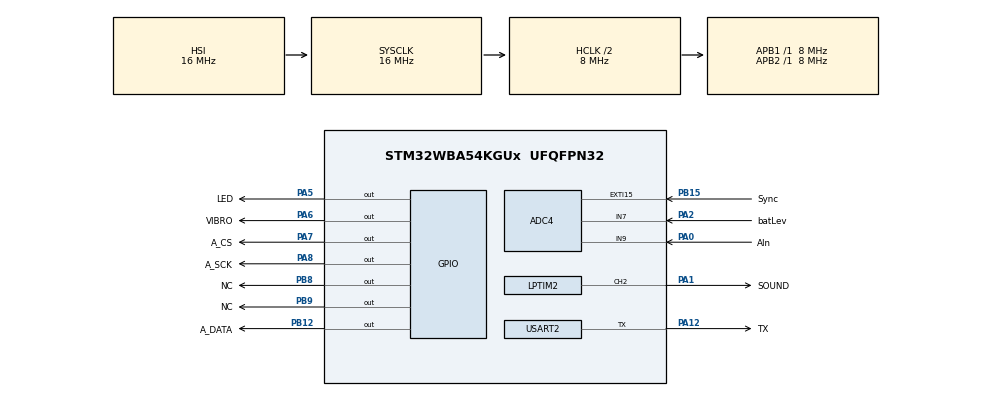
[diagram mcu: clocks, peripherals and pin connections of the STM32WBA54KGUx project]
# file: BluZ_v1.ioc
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ADC4.Channel-0\#ChannelRegularConversion=ADC_CHANNEL_9
ADC4.Channel-1\#ChannelRegularConversion=ADC_CHANNEL_7
ADC4.Channel-2\#ChannelRegularConversion=ADC_CHANNEL_TEMPSENSOR
ADC4.ContinuousConvMode=DISABLE
ADC4.DMAContinuousRequests=ENABLE
ADC4.NbrOfConversion=3
ADC4.NbrOfConversionFlag=1
ADC4.Overrun=ADC_OVR_DATA_OVERWRITTEN
ADC4.Rank-0\#ChannelRegularConversion=1
ADC4.Rank-1\#ChannelRegularConversion=2
ADC4.Rank-2\#ChannelRegularConversion=3
ADC4.SamplingTime-0\#ChannelRegularConversion=ADC_SAMPLINGTIME_COMMON_1
ADC4.SamplingTime-1\#ChannelRegularConversion=ADC_SAMPLINGTIME_COMMON_2
ADC4.SamplingTime-2\#ChannelRegularConversion=ADC_SAMPLINGTIME_COMMON_2
ADC4.SamplingTimeCommon1=ADC_SAMPLETIME_12CYCLES_5
ADC4.SamplingTimeCommon2=ADC_SAMPLETIME_814CYCLES_5
ADC4.SelectedChannel=ADC_CHANNEL_7|ADC_CHANNEL_9|ADC_CHANNEL_TEMPSENSOR
ADC4.TriggerFrequencyMode=ADC_TRIGGER_FREQ_HIGH
CORTEX_M33_NS.userName=CORTEX_M33
CRC.GeneratingPolynomial=X12+X11+X10+X8+X7+X5+X4+X2+X1+X0
GPDMA1.CIRCULARMODE_GPDMACH0=ENABLE
GPDMA1.DESTBURSTLENGTH_GPDMACH0=1
GPDMA1.DESTDATAWIDTH_GPDMACH0=DMA_DEST_DATAWIDTH_HALFWORD
GPDMA1.DESTINC_GPDMACH0=DMA_DINC_INCREMENTED
GPDMA1.IPHANDLE_GPDMACH0-SIMPLEREQUEST_GPDMACH0=__NULL
GPDMA1.REQUEST_GPDMACH0=GPDMA1_REQUEST_ADC4
GPDMA1.SRCDATAWIDTH_GPDMACH0=DMA_SRC_DATAWIDTH_HALFWORD
GPDMA1.TRIGGERPOLARITY_GPDMACH0=DMA_TRIG_POLARITY_MASKED
LPTIM1.Capture_Compare_Selection_1=UI_output
LPTIM1.ClockPrescaler=LPTIM_PRESCALER_DIV128
LPTIM1.OCPulse_1=4000
LPTIM1.Period=10000
LPTIM1.RepetitionCounter=0
LPTIM1.UpdateMode=LPTIM_UPDATE_IMMEDIATE
LPTIM2.OCPulse_2=1270
LPTIM2.Period=2540
LPTIM2.RepetitionCounter=0
LPTIM2.UpdateMode=LPTIM_UPDATE_IMMEDIATE
Mcu.Family=STM32WBA
Mcu.Name=STM32WBA54KGUx
Mcu.Package=UFQFPN32
NVIC.ADC4_IRQn=true\:0\:0\:false\:false\:true\:true\:true\:true
NVIC.EXTI15_IRQn=true\:0\:0\:false\:false\:true\:true\:true\:true
NVIC.GPDMA1_Channel0_IRQn=true\:0\:0\:false\:false\:true\:false\:true\:true
NVIC.LPTIM1_IRQn=true\:0\:0\:false\:false\:true\:true\:true\:true
NVIC.PriorityGroup=NVIC_PRIORITYGROUP_4
NVIC.RADIO_IRQn=true\:0\:0\:false\:false\:true\:false\:false\:true
NVIC.RTC_IRQn=true\:0\:0\:false\:false\:true\:true\:true\:true
NVIC.TIM17_IRQn=true\:0\:0\:false\:false\:true\:true\:true\:true
OSC_IN.Mode=HSE-External-Oscillator
OSC_IN.Signal=RCC_OSC_IN
OSC_OUT.Mode=HSE-External-Oscillator
OSC_OUT.Signal=RCC_OSC_OUT
PA0.GPIO_Label=AIn
PA0.Mode=IN9
PA0.Signal=ADC4_IN9
PA1.GPIO_Label=SOUND
PA1.Signal=S_LPTIM2_CH2
PA12.GPIO_Label=TX
PA12.GPIO_PuPd=GPIO_NOPULL
PA12.Mode=Half_duplex(single_wire_mode)
PA12.Signal=USART2_TX
PA2.GPIO_Label=batLev
PA2.Mode=IN7
PA2.Signal=ADC4_IN7
PA5.GPIO_Label=LED
PA5.Signal=GPIO_Output
PA6.GPIO_Label=VIBRO
PA6.Signal=GPIO_Output
PA7.GPIO_Label=A_CS
PA7.Signal=GPIO_Output
PA8.GPIO_Label=A_SCK
PA8.Signal=GPIO_Output
PB12.GPIO_Label=A_DATA
PB12.Signal=GPIO_Output
PB15.GPIO_Label=Sync
PB15.Signal=GPXTI15
PB8.GPIO_Label=NC
PB8.GPIO_ModeDefaultOutputPP=GPIO_MODE_OUTPUT_OD
PB8.GPIO_PuPd=GPIO_NOPULL
PB8.Signal=GPIO_Output
PB9.GPIO_Label=NC
PB9.GPIO_ModeDefaultOutputPP=GPIO_MODE_OUTPUT_OD
PB9.GPIO_PuPd=GPIO_NOPULL
PB9.Signal=GPIO_Output
PC14-OSC32_IN.Mode=LSE-External-Oscillator
PC14-OSC32_IN.Signal=RCC_OSC32_IN
PC15-OSC32_OUT.Mode=LSE-External-Oscillator
PC15-OSC32_OUT.Signal=RCC_OSC32_OUT
ProjectManager.HeapSize=0x200
ProjectManager.StackSize=0x400
ProjectManager.TargetToolchain=STM32CubeIDE
RAMCFG.Instance-RAMCFG1_Activate=RAMCFG_SRAM1
RCC.ADCCLockSelectionVirtual=RCC_ADCCLKSOURCE_HSI
RCC.ADCFreq_Value=16000000
RCC.AHBCLKDivider=RCC_SYSCLK_DIV2
RCC.AHBFreq_Value=8000000
RCC.APB1Freq_Value=8000000
RCC.APB1TimFreq_Value=8000000
RCC.APB2Freq_Value=8000000
RCC.APB2TimFreq_Value=8000000
RCC.CortexCLockSelectionVirtual=RCC_SYSTICKCLKSOURCE_LSE
RCC.CortexFreq_Value=32768
RCC.HCLKFreq_Value=8000000
RCC.HSE_VALUE=32000000
RCC.HSI_VALUE=16000000
RCC.HseDiv=RCC_HSE_DIV2
RCC.LPTIM1CLockSelectionVirtual=RCC_LPTIM1CLKSOURCE_HSI
RCC.LPTIM2CLockSelectionVirtual=RCC_LPTIM2CLKSOURCE_HSI
RCC.LSI1_VALUE=32000
RCC.LSI2_VALUE=32000
RCC.PLL1P=8
RCC.PLL1Q=8
RCC.PLL1R=8
RCC.PLLFRACN=0
RCC.PLLM=4
RCC.PLLN=32
RCC.RSTClockSelectionVirtual=RCC_RADIOSTCLKSOURCE_LSE
RCC.RTCClockSelection=RCC_RTCCLKSOURCE_LSE
RCC.SYSCLKFreq_VALUE=16000000
RCC.USART2CLockSelectionVirtual=RCC_USART2CLKSOURCE_HSI
RCC.VCOOutputFreq_Value=128000000
RCC.VDD_VALUE=2.8
RTC.BinMode=RTC_BINARY_ONLY
RTC.RTC_PRIVILEGE_FEATURE_WUT=__NULL
RTC.WakeUpClock=RTC_WAKEUPCLOCK_CK_SPRE_16BITS
RTC.WakeUpCounter=0
SH.S_LPTIM2_CH2.0=LPTIM2_CH2,OutputIO_CH2
STM32_WPAN.ADV_INTERVAL_MAX=3000
STM32_WPAN.ADV_INTERVAL_MAX_HEXA=0x12C0
STM32_WPAN.ADV_INTERVAL_MIN=2000
STM32_WPAN.ADV_INTERVAL_MIN_HEXA=0x0C80
STM32_WPAN.ADV_LP_INTERVAL_MIN=3000
STM32_WPAN.ADV_LP_INTERVAL_MIN_HEXA=0x12C0
STM32_WPAN.AD_TYPE_COMPLETE_LOCAL_NAME=BluZ
STM32_WPAN.AD_TYPE_COMPLETE_LOCAL_NAME_LENGTH=5
STM32_WPAN.BLE_OPTIONS_POWER_CLASS_1=BLE_OPTIONS_POWER_CLASS_1
STM32_WPAN.BLE_OPTIONS_REDUCED_DB_IN_NVM=BLE_OPTIONS_REDUCED_DB_IN_NVM
STM32_WPAN.BLE_STACK_TYPE=BLE_STACK_TYPE_BASIC
STM32_WPAN.CFG_AMM_VIRTUAL_BUFFER_SIZE_1=400
STM32_WPAN.CFG_AMM_VIRTUAL_BUFFER_SIZE_2=400
STM32_WPAN.CFG_BD_ADDRESS=0x0008E12A1234
STM32_WPAN.CFG_DEBUGGER_LEVEL=0
STM32_WPAN.CFG_GAP_DEVICE_NAME=BluZ
STM32_WPAN.CFG_GAP_DEVICE_NAME_LENGTH=4
STM32_WPAN.CFG_IO_CAPABILITY=\ IO_CAP_NO_INPUT_NO_OUTPUT
STM32_WPAN.CFG_LPM_LEVEL=0
STM32_WPAN.CFG_LPM_STDBY_SUPPORTED=0
STM32_WPAN.CFG_MITM_PROTECTION=MITM_PROTECTION_NOT_REQUIRED
STM32_WPAN.CFG_MM_POOL_SIZE=4000
STM32_WPAN.CFG_RF_TX_POWER_TABLE_ID=1
STM32_WPAN.CFG_RT_DEBUG_GPIO_MODULE=0
STM32_WPAN.CFG_SC_SUPPORT=SC_PAIRING_UNSUPPORTED
STM32_WPAN.CFG_TX_POWER=(0x17) /* 0x17 <\=> -2.4 dBm */
STM32_WPAN.CFG_USED_FIXED_PIN=1
STM32_WPAN.INCLUDE_AD_TYPE_COMPLETE_LOCAL_NAME=1
STM32_WPAN.INCLUDE_AD_TYPE_MANUFACTURER_SPECIFIC_DATA=1
STM32_WPAN.INCLUDE_AD_TYPE_TX_POWER_LEVEL=0
STM32_WPAN.NUMBER_OF_SERVICES=1
STM32_WPAN.RADIO_INTR_PRIO_LOW=5
STM32_WPAN.SERVICE1_CHAR1_GATT_NOTIFY_ATTRIBUTE_WRITE=GATT_NOTIFY_ATTRIBUTE_WRITE
STM32_WPAN.SERVICE1_CHAR1_GATT_NOTIFY_READ_REQ_AND_WAIT_FOR_APPL_RESP=\ 
STM32_WPAN.SERVICE1_CHAR1_GATT_NOTIFY_WRITE_REQ_AND_WAIT_FOR_APPL_RESP=\ 
STM32_WPAN.SERVICE1_CHAR1_LONG_NAME=BluZ_RX
STM32_WPAN.SERVICE1_CHAR1_PROP_NOTIFY=CHAR_PROP_NOTIFY
STM32_WPAN.SERVICE1_CHAR1_PROP_READ=\ 
STM32_WPAN.SERVICE1_CHAR1_PROP_WRITE_WITHOUT_RESP=\ 
STM32_WPAN.SERVICE1_CHAR1_SHORT_NAME=RX
STM32_WPAN.SERVICE1_CHAR1_UUID=FE 81
STM32_WPAN.SERVICE1_CHAR1_VALUE_LENGTH=255
STM32_WPAN.SERVICE1_CHAR2_GATT_NOTIFY_READ_REQ_AND_WAIT_FOR_APPL_RESP=\ 
STM32_WPAN.SERVICE1_CHAR2_GATT_NOTIFY_WRITE_REQ_AND_WAIT_FOR_APPL_RESP=\ 
STM32_WPAN.SERVICE1_CHAR2_LONG_NAME=BluZ_TX
STM32_WPAN.SERVICE1_CHAR2_PROP_NOTIFY=CHAR_PROP_NOTIFY
STM32_WPAN.SERVICE1_CHAR2_PROP_WRITE=\ 
STM32_WPAN.SERVICE1_CHAR2_PROP_WRITE_WITHOUT_RESP=CHAR_PROP_WRITE_WITHOUT_RESP
STM32_WPAN.SERVICE1_CHAR2_SHORT_NAME=TX
STM32_WPAN.SERVICE1_CHAR2_UUID=FE 82
STM32_WPAN.SERVICE1_CHAR2_VALUE_LENGTH=255
STM32_WPAN.SERVICE1_LONG_NAME=BluZ
STM32_WPAN.SERVICE1_NUMBER_OF_CHARACTERISTICS=2
STM32_WPAN.SERVICE1_SHORT_NAME=BluZ
STM32_WPAN.SERVICE1_UUID=FE 80
STM32_WPAN.SNVMA_NVM_ID_1_BANK_NUMBER=2
STM32_WPAN.SNVMA_NVM_ID_2_BANK_NUMBER=2
STM32_WPAN.SNVMA_NVM_ID_2_BANK_SIZE=128
STM32_WPAN.SNVMA_NVM_NUMBER=1
STM32_WPAN.USE_TEMPERATURE_BASED_RADIO_CALIBRATION=0
TIM17.AutoReloadPreload=TIM_AUTORELOAD_PRELOAD_ENABLE
TIM17.Channel=TIM_CHANNEL_1
TIM17.OCMode_1=TIM_OCMODE_TOGGLE
TIM17.PeriodNoDither=1000
TIM17.Prescaler=15
USART2.BaudRate=115200
USART2.DMADisableonRxErrorParam=ADVFEATURE_DMA_DISABLEONRXERROR
USART2.DataInvertParam=ADVFEATURE_DATAINV_DISABLE
USART2.FIFOMode=FIFOMODE_ENABLE
USART2.Mode=MODE_TX
USART2.OverSampling=UART_OVERSAMPLING_8
USART2.OverrunDisableParam=ADVFEATURE_OVERRUN_DISABLE
USART2.VirtualMode-Half_duplex(single_wire_mode)=VM_ASYNC
VP_ADC4_TempSens_Input.Mode=IN-TempSens
VP_ADV_TRACE_VS_ADV_TRACE.Mode=ADV_TRACE_Enabled
VP_CORTEX_M33_NS_VS_Ext.Mode=External_Mode
VP_CRC_VS_CRC.Mode=CRC_Activate
VP_GPDMA1_VS_GPDMACH0.Mode=SIMPLEREQUEST_GPDMACH0
VP_ICACHE_VS_ICACHE.Mode=DirectMappedCache
VP_LPTIM1_VS_CH1.Mode=Channel_1_Active
VP_LPTIM1_VS_LPTIM_counterModeInternalClock.Mode=Counts__internal_clock_event_00
VP_LPTIM1_VS_noIO1.Mode=NoIO_Channel_1_Active
VP_LPTIM2_VS_CH2.Mode=Channel_2_Active
VP_LPTIM2_VS_LPTIM_counterModeInternalClock.Mode=Counts__internal_clock_event_00
VP_MEMORYMAP_VS_MEMORYMAP.Mode=CurAppReg
VP_MISC_VS_MISC.Mode=MISC_Enabled
VP_PWR_VS_SECSignals.Mode=Security/Privilege
VP_RAMCFG_VS_RAMCFG1.Mode=RAMCFG1_Activate
VP_RF_VS_RF.Mode=RF_Activate
VP_RNG_VS_RNG.Mode=RNG_Activate
VP_RTC_VS_RTC_Activate.Mode=RTC_Enabled
VP_RTC_VS_RTC_WakeUp_intern.Mode=WakeUp
VP_SEQUENCER_VS_SEQUENCER.Mode=SEQUENCER_Enabled
VP_STM32_WPAN_VS_BLE_HOST_SP.Mode=BLE_Server
VP_TIM17_VS_ClockSourceINT.Mode=Enable_Timer
VP_TIM17_VS_OPM.Mode=OPM_bit
VP_TIM17_VS_no_output1.Mode=Output Compare1 No Output
VP_TIMER_VS_TIMER.Mode=TIMER_Enabled
VP_TINY_LPM_VS_TINY_LPM.Mode=TINY_LPM_Enabled
board=custom

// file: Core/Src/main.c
/* USER CODE BEGIN Header */
/**
  ******************************************************************************
  * @file           : main.c
  * @brief          : Main program body
  ******************************************************************************
  * @attention
  *
  * Copyright (c) 2024 STMicroelectronics.
  * All rights reserved.
  *
  * This software is licensed under terms that can be found in the LICENSE file
  * in the root directory of this software component.
  * If no LICENSE file comes with this software, it is provided AS-IS.
  *
  ******************************************************************************
  */
/* USER CODE END Header */
#include "main.h"

/* USER CODE BEGIN Includes */
#include "LTC1662.h"
/* USER CODE END Includes */

ADC_HandleTypeDef hadc4;
DMA_NodeTypeDef Node_GPDMA1_Channel0;
DMA_QListTypeDef List_GPDMA1_Channel0;
DMA_HandleTypeDef handle_GPDMA1_Channel0;

CRC_HandleTypeDef hcrc;

LPTIM_HandleTypeDef hlptim1;
LPTIM_HandleTypeDef hlptim2;

RAMCFG_HandleTypeDef hramcfg_SRAM1;

RNG_HandleTypeDef hrng;

RTC_HandleTypeDef hrtc;

TIM_HandleTypeDef htim17;

UART_HandleTypeDef huart2;

/* USER CODE BEGIN PV */

bool connectFlag = false, LEDflag = false, SoundFlag = false, VibroFlag = false, autoStartSpecrometr = false;
uint32_t tmp_level, currentTimeAvg, pulseCounterAvg, interval1 = 0, interval2 = 0, interval3 = 0, interval4 = 0, intervalNow = 0, pulseCounter = 0,  pulseCounterSecond = 0, pulseLevel[3] = {0}, currentTime = 0, CPS = 0;
char uartBuffer[400] = {0,};
/* Буфер для работы с flash */
uint64_t PL[8] = {0,};
uint8_t resolution = 0; /* 0 - 1024, 1 - 2048, 2 - 4096 */
uint8_t dataType = 0;	/* 0 - Спектр, 1 - История, 2 - Логи, 3 - Параметры, 4 - История дозиметра*/
uint8_t tmpBTBuffer[DATA_NOTIFICATION_MAX_PACKET_SIZE] = {0,};
uint16_t currTemterature, currVoltage, tmpSpecterBuffer[4096];
uint16_t dozimetrBuffer[SIZE_DOZIMETR_BUFER] = {0,};
int indexDozimetrBufer = 0;

/* Настройки прибора */
uint16_t specterBuffer[SIZE_BUF_4096] = {0,};
bool SoundEnable = true, VibroEnable = true, LEDEnable = false;		// Собровождение квантов
bool levelSound1 = true, levelSound2 = true, levelSound3 = true;	// Активность звука для разных уровней
bool levelVibro1 = true, levelVibro2 = true, levelVibro3 = true;	// Активность вибро для разнвх уровней
bool flagTemperatureMess = false, startSpecrometr = false;

/*
union dataC {
	float Float;
	uint8_t Uint[4];
};
*/

/* Коэффициенты для коррекции температуры */
float TK1, TK2;

int level1, level2, level3;											// Значения порогов
uint32_t level1_cps, level2_cps, level3_cps;						// Значения порогов в CPS
union dataC calcCoeff;												// Коэффициент для пересчета CPS в uR/h
union dataC enCoefA, enCoefB, enCoefC;								// Коэффициенты полинома для преобразования канала в энергию
union dataA Temperature, Voltage;									// Температура и напряжение батареи
union dataA AvgCPS;													// Средний CPS за время с последнего старта.

uint16_t HVoltage = 256, comparatorLevel = 256;						// Уровни настройки высокого напряжения и компаратора

uint8_t notifyFlags = 0;											// 1 - Звук, 2 - Вибро, 4 - Led

/* USER CODE END PV */

void SystemClock_Config(void);
void PeriphCommonClock_Config(void);
static void MX_GPIO_Init(void);
static void MX_GPDMA1_Init(void);
static void MX_ADC4_Init(void);
static void MX_USART2_UART_Init(void);
static void MX_CRC_Init(void);
static void MX_RAMCFG_Init(void);
static void MX_RNG_Init(void);
static void MX_ICACHE_Init(void);
static void MX_LPTIM2_Init(void);
static void MX_LPTIM1_Init(void);
static void MX_TIM17_Init(void);

/* USER CODE BEGIN 0 */

/*
 * Управление оповещениями
 *
 * SRC 		- SOUND_NOTIFY | VIBRO_NOTIFY | LED_NOTIFY
 * repCnt	- Количество повторов для звука и вибро
 *
 */
void NotifyAct(uint8_t SRC, uint32_t repCnt) {
	if (SoundEnable || VibroEnable || TEST_LED) {
		if (SRC & (SOUND_NOTIFY | VIBRO_NOTIFY)) {
		/* Установим количество повторов */
			hlptim1.Init.RepetitionCounter = repCnt;
			if (HAL_LPTIM_Init(&hlptim1) == HAL_OK) {
				notifyFlags = SRC;
				/* Включаем звук и вибро */
				HAL_LPTIM_OnePulse_Start_IT(&hlptim1, LPTIM_CHANNEL_1);
			}
		}
	}
	if (LEDEnable || TEST_LED) {
		if (SRC & LED_NOTIFY) {
			LEDflag = true;
			HAL_GPIO_WritePin(LED_GPIO_Port, LED_Pin, GPIO_PIN_SET);
			HAL_TIM_Base_Start_IT(&htim17);
		}
	}
}

void calcPulseLevel() {
	level1_cps = level1 / calcCoeff.Float;
	level2_cps = level2 / calcCoeff.Float;
	level3_cps = level3 / calcCoeff.Float;
}
/* USER CODE END 0 */

int main(void)
{

  /* USER CODE BEGIN 1 */
	/* Настройка температурных коэффициентов */
	TK1 = (float) (TEMPSENSOR_CAL2_TEMP - TEMPSENSOR_CAL1_TEMP) / (float)(*TEMPSENSOR_CAL2_ADDR - *TEMPSENSOR_CAL1_ADDR);
	TK2 = (float) TEMPSENSOR_CAL1_TEMP - TK1 * (float) ( *(__IO uint16_t*) TEMPSENSOR_CAL1_ADDR);
	TK1 = TK1 * ADC_VREF / ((float)VREFINT_CAL_VREF / 1000.0f);

  /* USER CODE END 1 */

  /* MCU Configuration--------------------------------------------------------*/

  /* Reset of all peripherals, Initializes the Flash interface and the Systick. */
  HAL_Init();
  /* Config code for STM32_WPAN (HSE Tuning must be done before system clock configuration) */
  MX_APPE_Config();

  /* Configure the system clock */
  SystemClock_Config();

/* Configure the peripherals common clocks */
  PeriphCommonClock_Config();

  /* Initialize all configured peripherals */
  MX_GPIO_Init();
  MX_GPDMA1_Init();
  MX_ADC4_Init();
  MX_USART2_UART_Init();
  MX_CRC_Init();
  MX_RAMCFG_Init();
  MX_RNG_Init();
  MX_RTC_Init();
  MX_ICACHE_Init();
  MX_LPTIM2_Init();
  MX_LPTIM1_Init();
  MX_TIM17_Init();
  /* USER CODE BEGIN 2 */
  //MX_GPIO_Init();
  HAL_ADCEx_Calibration_Start(&hadc4);

#ifndef DEBUG_USER
  HAL_UART_DeInit(&huart2);
#endif

#ifdef DEBUG_USER
  bzero((char *) uartBuffer, sizeof(uartBuffer));
  sprintf(uartBuffer, "\n\rStart.\n\r");
  HAL_UART_Transmit(&huart2, (uint8_t *) uartBuffer, strlen(uartBuffer), 100);
#endif

  /* USER CODE END 2 */

  /* Init code for STM32_WPAN */
  MX_APPE_Init(NULL);

  /* Infinite loop */
  /* USER CODE BEGIN WHILE */
  //__//HAL_TIM_CLEAR_FLAG(&htim1, TIM_SR_UIF); // Clear flags

  //resolution = 0;			/* Тест разрешение 1024 */
  //resolution = 1;			/* Тест разрешение 2048 */
  //resolution = 2;			/* Тест разрешение 4096 */

  //HAL_RTCEx_SetWakeUpTimer_IT(&hrtc, 2000, 1000, RTC_WAKEUPCLOCK_RTCCLK_DIV16);

  if (readFlash() == HAL_OK) {
	#ifdef DEBUG_USER
	  bzero((char *) uartBuffer, sizeof(uartBuffer));
	  sprintf(uartBuffer, "\n\rRead flash Ok. Address: %lx\n\r", MAGIC_KEY_ADDRESS);
	  HAL_UART_Transmit(&huart2, (uint8_t *) uartBuffer, strlen(uartBuffer), 100);
	#endif
  }
  /* Пересчет уровней в uint32_t для ускорения обработки */
  calcPulseLevel();
  /*
   * Настройка порога компаратора
   */
  setLevelOnPort(CHANNEL_A, comparatorLevel);

  /*
   * Настройка высокого напряжения
   * Чем выше значение тем ниже напряжение.
   */
  setLevelOnPort(CHANNEL_B, HVoltage);

  /* Запуск набора спектра при активном автостарте */
  if (autoStartSpecrometr) {
	  HAL_ADC_Start_DMA(&hadc4, pulseLevel, 3);
	  //__HAL_DMA_DISABLE_IT(hadc4.DMA_Handle, DMA_IT_HT);
	  hadc4.DMA_Handle->Instance->CCR &= ~DMA_IT_HT;
	  /* Включим ADC для одного канала */
	  MODIFY_REG(hadc4.Instance->CHSELR, ADC_CHSELR_SQ_ALL, ((ADC_CHSELR_SQ2 | ADC_CHSELR_SQ3 | ADC_CHSELR_SQ4 | ADC_CHSELR_SQ5 | ADC_CHSELR_SQ6 | ADC_CHSELR_SQ7 | ADC_CHSELR_SQ8) << (((1UL - 1UL) * ADC_REGULAR_RANK_2) & 0x1FUL)) | (hadc4.ADCGroupRegularSequencerRanks));
	  //hadc4.DMA_Handle &= ~DMA_IT_HT;
  }
  pulseCounter = 0;
  pulseCounterSecond = 0;
  currentTime = 0;

  /*
   * Значения заголовка и формат данных для передачи
   * 0,1,2 - Маркер начала <B>
   * 3 -  количество MTU
   *    1    - Параметры прибора
   *    3    - Даные лога
   *    4    - Данные дозиметра
   *    9    - Спектр 1024 разрядов
   *    17   - Спектр 2048 разрядов
   *    34   - Спектр 4096 разрядов
   *
   * 4 - Тип передаваемых данных
   *    0   - Текущий спектр
   *    1   - Исторический спектр
   *
   * 5, 6   - Общее число импульсов от начала измерения uint32_t
   * 7, 8   - Число импульсов за последнюю секунду. uint32_t
   * 9, 10  - Общее время в секундах uint32_t
   * 11, 12 - Среднее количество имльсов в секунду. float
   * 13, 14 - Температура в гр. цельсия
   * 15, 16 - Напряжение батареи в вольтах
   *
   */
  /* Включим Vibro, Sound */

  NotifyAct(SOUND_NOTIFY /*| VIBRO_NOTIFY*/, 1);

  while (1)
  {
    /* USER CODE END WHILE */
    MX_APPE_Process();

    /* USER CODE BEGIN 3 */
    /*
     * 	Засыпаем если нет подключения и нет набора спектра.
     */
    if (! connectFlag && ! startSpecrometr) {
		HAL_SuspendTick();
		HAL_PWR_EnterSLEEPMode(PWR_LOWPOWERREGULATOR_ON, PWR_SLEEPENTRY_WFI);
		//PWR_EnterSleepMode();
		HAL_ResumeTick();
		//LL_PWR_SetPowerMode(Mode);
    }

	if (interval3 + INTERVAL3 < intervalNow) {
		interval3 = intervalNow;
		//NotifyAct(SOUND_NOTIFY, 2);
		//HAL_GPIO_TogglePin(LED_GPIO_Port, LED_Pin);
	}

    if ( connectFlag && (interval2 < intervalNow) /*&& system_startup_done*/) {
	  interval2 = intervalNow + INTERVAL2;

	  /* Шаблон заголовка */
	  uint8_t hdr[] = {'<', 'B', '>', 0, 0, 0, 0, 0};

	  uint16_t countMTU = 0;
	  uint16_t idxCS = 0 ;
	  int kkk = 0;
	  switch (dataType) {
  	  case 0:									/* Передача данных спектрометра */
  	  case 1:									/* Передача данных истории спектрометра */
		  switch (resolution) {
		  case 0:								/* Передача спектра с разрешением 1024 */
				countMTU = NUMBER_MTU_1024;
				idxCS = SIZE_BUF_1024 - 1 ;
				hdr[4] = 0;					/* Тип передаваемых данных */
				break;
		  case 1: 								/* Передача спектра с разрешением 2048 */
				countMTU = NUMBER_MTU_2048;
				idxCS = SIZE_BUF_2048 - 1;
				hdr[4] = 0;
				break;
		  case 2: 								/* Передача спектра с разрешением 4096 */
				countMTU = NUMBER_MTU_4096;
				idxCS = SIZE_BUF_4096 - 1;
				hdr[4] = 0;
				break;
		  }
		  /*
		   * Загрузка спектра в буфер,
		   * что бы исключить изменение данных на время передачи
		   *
		   */
		  for (int jjj = HEADER_OFFSET; jjj < idxCS; jjj++) {
			  specterBuffer[jjj] = tmpSpecterBuffer[kkk++];
			  /* Тестовые данные */
			  //specterBuffer[jjj] = 0;
			  //specterBuffer[jjj] = log(jjj) * 400;
		  }
		  break;
	  case 2:								/* Передача лога */
		  countMTU = NUMBER_MTU_LOG;
		  idxCS = SIZE_BUF_LOG - 1;
		  hdr[4] = 0;
		  break;
	  case 3:								/* Передача параметров */
		  countMTU = NUMBER_MTU_PARAM;
		  idxCS = SIZE_BUF_PARAM - 1;
		  hdr[4] = 0;
		  break;
	  case 4:								/* Передача статистики дозиметра */
		  countMTU = NUMBER_MTU_DOZR;
		  idxCS = SIZE_BUF_DOZR - 1;
		  hdr[4] = 0;
  		  for (int jjj = HEADER_OFFSET; jjj < HEADER_OFFSET + SIZE_DOZIMETR_BUFER; jjj++) {
  			  specterBuffer[jjj] = dozimetrBuffer[kkk++];
  		  }
		  break;
	  }

	  /* Подготовка заголовка */
	  hdr[3] = countMTU;		/* Количество передач */
	  specterBuffer[0] = (uint16_t) (hdr[0] | (((uint16_t) hdr[1] << 8) & 0xFF00));
	  specterBuffer[1] = (uint16_t) (hdr[2] | (((uint16_t) hdr[3] << 8) & 0xFF00));
	  specterBuffer[2] = (uint16_t) (hdr[4] | (((uint16_t) hdr[5] << 8) & 0xFF00));
	  specterBuffer[3] = (uint16_t) (hdr[6] | (((uint16_t) hdr[7] << 8) & 0xFF00));

	  /* Общее количество импульсов */
	  specterBuffer[5] = pulseCounterAvg & 0xFFFF;
	  specterBuffer[6] = ((uint32_t) pulseCounterAvg >> 16 ) & 0xFFFF;

	  /* Импульсы за последнюю секунду */
	  specterBuffer[7] = CPS & 0xFFFF;
	  specterBuffer[8] = (CPS >> 16) & 0xFFFF;

	  /* Общее время в секундах от последнего старта */
	  specterBuffer[9] =  currentTimeAvg & 0xFFFF;
	  specterBuffer[10] = (currentTimeAvg >> 16) & 0xFFFF;

	  /* Среднее количество импульсов от последнего старта */
	  AvgCPS.Float = (float) pulseCounterAvg / (float) currentTimeAvg;
	  specterBuffer[11] = AvgCPS.Uint[0];
	  specterBuffer[12] = AvgCPS.Uint[1];

	 /*
	  *	Расчет температуры
	  *	 TS_CAL1 (30 °C VREF+ = 3.0 V)  0x0BF9 0710 - 0x0BF9 0711
	  *	 TS_CAL2 (130 °C VREF+ = 3.0 V) 0x0BF9 0742 - 0x0BF9 0743
	  *
	  *	 T(°C) = (TS_CAL2_TEMP – TS_CAL1_TEMP) / (TS_CAL2 – TS_CAL1) * ( TS_DATA – TS_CAL1 ) + TS_CAL1_TEMP
	  *
	  *	 T(°C) = (130 - 30) / (*(__IO uint32_t*) 0x0BF9 0742 - *(__IO uint32_t*) 0x0BF9 0710) * (TS_DATA - *(__IO uint32_t*) 0x0BF9 0710) + 30
	  */
	  Temperature.Float = TK1 * (float) currTemterature + TK2;
	  Temperature.Float = (float) TK1 * 1000000.0;
	  Voltage.Float = currVoltage * ADC_VREF_COEF;
	  specterBuffer[13] = Temperature.Uint[0];
	  specterBuffer[14] = Temperature.Uint[1];

	  /* Напряжение батареи */
	  specterBuffer[15] = Voltage.Uint[0];
	  specterBuffer[16] = Voltage.Uint[1];

	  uint16_t tmpCS = 0;			/* Очистим контрольнуюю сумму */
	  specterBuffer[idxCS] = 0;
	  kkk = 0;
	  for (int iii = 0; iii < countMTU; iii++) {
		  if ( ! connectFlag) {
			  break;
		  }
		  for (int jjj = 0; jjj < MTUSizeValue; jjj++) {
			  uint16_t dataSpectr = specterBuffer[kkk++];
			  uint8_t tmpByte;
			  tmpByte  = (uint8_t) (dataSpectr & 0xFF);
			  tmpBTBuffer[jjj++] = tmpByte;
			  tmpCS = tmpCS + tmpByte;
			  tmpByte = (uint8_t) ((dataSpectr >> 8) & 0xFF);
			  tmpBTBuffer[jjj] = tmpByte;
			  tmpCS = tmpCS + tmpByte;
		  }
		  if (kkk >= idxCS) {
			  tmpBTBuffer[242] = (uint8_t) (tmpCS & 0xFF);
			  tmpBTBuffer[243] = (uint8_t) ((tmpCS >> 8) & 0xFF);
		  }
		  sendData(tmpBTBuffer);
		  MX_APPE_Process();
		  /*
		   * TODO -- требуется задержка в передаче, иначе не все пакеты принимаются
		   */
		  HAL_Delay(40);
			//bzero((char *) uartBuffer, sizeof(uartBuffer));
			//sprintf(uartBuffer, "MTU: %d\n\r", iii);
			//HAL_UART_Transmit(&huart2, (uint8_t *) uartBuffer, strlen(uartBuffer), 100);
	  }
		#ifdef DEBUG_USER
		bzero((char *) uartBuffer, sizeof(uartBuffer));
		sprintf(uartBuffer, "CS: %d, MTU: %d\n\r", tmpCS, MTUSizeValue);
		HAL_UART_Transmit(&huart2, (uint8_t *) uartBuffer, strlen(uartBuffer), 100);
		#endif
	}
    if (interval1 < intervalNow) {
    	interval1 = intervalNow + INTERVAL1;
    	//HAL_GPIO_TogglePin(LED_GPIO_Port, LED_Pin);
    	//NotifyAct(SOUND_NOTIFY, 2);
		if (connectFlag) {
			//NotifyAct(LED_NOTIFY);

		}
    }

    /* Измерение напряжения батареи и температуры МК */
    if (interval4 < intervalNow) {
    	interval4 = intervalNow + INTERVAL4;
    	if (! flagTemperatureMess) {
    		/* Включим ADC для трех каналов */
    		MODIFY_REG(hadc4.Instance->CHSELR, ADC_CHSELR_SQ_ALL, ((ADC_CHSELR_SQ2 | ADC_CHSELR_SQ3 | ADC_CHSELR_SQ4 | ADC_CHSELR_SQ5 | ADC_CHSELR_SQ6 | ADC_CHSELR_SQ7 | ADC_CHSELR_SQ8) << (((3UL - 1UL) * ADC_REGULAR_RANK_2) & 0x1FUL)) | (hadc4.ADCGroupRegularSequencerRanks));
			flagTemperatureMess = true;						// Для единичного измерения
    	}
    }
  }
  /* USER CODE END 3 */
}

void SystemClock_Config(void)
{
  RCC_OscInitTypeDef RCC_OscInitStruct = {0};
  RCC_ClkInitTypeDef RCC_ClkInitStruct = {0};

  /** Configure the main internal regulator output voltage
  */
  if (HAL_PWREx_ControlVoltageScaling(PWR_REGULATOR_VOLTAGE_SCALE2) != HAL_OK)
  {
    Error_Handler();
  }

  /** Configure LSE Drive Capability
  */
  HAL_PWR_EnableBkUpAccess();
  __HAL_RCC_LSEDRIVE_CONFIG(RCC_LSEDRIVE_MEDIUMLOW);

  /** Initializes the CPU, AHB and APB busses clocks
  */
  RCC_OscInitStruct.OscillatorType = RCC_OSCILLATORTYPE_HSI|RCC_OSCILLATORTYPE_HSE
                              |RCC_OSCILLATORTYPE_LSE;
  RCC_OscInitStruct.HSEState = RCC_HSE_ON;
  RCC_OscInitStruct.HSEDiv = RCC_HSE_DIV2;
  RCC_OscInitStruct.LSEState = RCC_LSE_ON;
  RCC_OscInitStruct.HSIState = RCC_HSI_ON;
  RCC_OscInitStruct.HSICalibrationValue = RCC_HSICALIBRATION_DEFAULT;
  RCC_OscInitStruct.PLL1.PLLState = RCC_PLL_NONE;
  if (HAL_RCC_OscConfig(&RCC_OscInitStruct) != HAL_OK)
  {
    Error_Handler();
  }

  /** Initializes the CPU, AHB and APB busses clocks
  */
  RCC_ClkInitStruct.ClockType = RCC_CLOCKTYPE_HCLK|RCC_CLOCKTYPE_SYSCLK
                              |RCC_CLOCKTYPE_PCLK1|RCC_CLOCKTYPE_PCLK2
                              |RCC_CLOCKTYPE_PCLK7|RCC_CLOCKTYPE_HCLK5;
  RCC_ClkInitStruct.SYSCLKSource = RCC_SYSCLKSOURCE_HSI;
  RCC_ClkInitStruct.AHBCLKDivider = RCC_SYSCLK_DIV2;
  RCC_ClkInitStruct.APB1CLKDivider = RCC_HCLK_DIV1;
  RCC_ClkInitStruct.APB2CLKDivider = RCC_HCLK_DIV1;
  RCC_ClkInitStruct.APB7CLKDivider = RCC_HCLK_DIV1;
  RCC_ClkInitStruct.AHB5_PLL1_CLKDivider = RCC_SYSCLK_PLL1_DIV1;
  RCC_ClkInitStruct.AHB5_HSEHSI_CLKDivider = RCC_SYSCLK_HSEHSI_DIV1;

  if (HAL_RCC_ClockConfig(&RCC_ClkInitStruct, FLASH_LATENCY_0) != HAL_OK)
  {
    Error_Handler();
  }

   /* Select SysTick source clock */
  HAL_SYSTICK_CLKSourceConfig(SYSTICK_CLKSOURCE_LSE);

   /* Re-Initialize Tick with new clock source */
  if (HAL_InitTick(TICK_INT_PRIORITY) != HAL_OK)
  {
    Error_Handler();
  }
}

void PeriphCommonClock_Config(void)
{
  RCC_PeriphCLKInitTypeDef PeriphClkInit = {0};

  /** Initializes the peripherals clock
  */
  PeriphClkInit.PeriphClockSelection = RCC_PERIPHCLK_RADIOST;
  PeriphClkInit.RadioSlpTimClockSelection = RCC_RADIOSTCLKSOURCE_LSE;

  if (HAL_RCCEx_PeriphCLKConfig(&PeriphClkInit) != HAL_OK)
  {
    Error_Handler();
  }
}

static void MX_ADC4_Init(void)
{

  ADC_ChannelConfTypeDef sConfig = {0};

  /** Common config
  */
  hadc4.Instance = ADC4;
  hadc4.Init.ClockPrescaler = ADC_CLOCK_ASYNC_DIV1;
  hadc4.Init.Resolution = ADC_RESOLUTION_12B;
  hadc4.Init.DataAlign = ADC_DATAALIGN_RIGHT;
  hadc4.Init.ScanConvMode = ADC_SCAN_ENABLE;
  hadc4.Init.EOCSelection = ADC_EOC_SINGLE_CONV;
  hadc4.Init.LowPowerAutoPowerOff = DISABLE;
  hadc4.Init.LowPowerAutonomousDPD = ADC_LP_AUTONOMOUS_DPD_DISABLE;
  hadc4.Init.LowPowerAutoWait = DISABLE;
  hadc4.Init.ContinuousConvMode = DISABLE;
  hadc4.Init.NbrOfConversion = 3;
  hadc4.Init.DiscontinuousConvMode = ENABLE;
  hadc4.Init.ExternalTrigConv = ADC_EXTERNALTRIG_EXT_IT15;
  hadc4.Init.ExternalTrigConvEdge = ADC_EXTERNALTRIGCONVEDGE_RISING;
  hadc4.Init.DMAContinuousRequests = ENABLE;
  hadc4.Init.TriggerFrequencyMode = ADC_TRIGGER_FREQ_HIGH;
  hadc4.Init.Overrun = ADC_OVR_DATA_OVERWRITTEN;
  hadc4.Init.SamplingTimeCommon1 = ADC_SAMPLETIME_12CYCLES_5;
  hadc4.Init.SamplingTimeCommon2 = ADC_SAMPLETIME_814CYCLES_5;
  hadc4.Init.OversamplingMode = DISABLE;
  if (HAL_ADC_Init(&hadc4) != HAL_OK)
  {
    Error_Handler();
  }

  /** Configure Regular Channel
  */
  sConfig.Channel = ADC_CHANNEL_9;
  sConfig.Rank = ADC_REGULAR_RANK_1;
  sConfig.SamplingTime = ADC_SAMPLINGTIME_COMMON_1;
  if (HAL_ADC_ConfigChannel(&hadc4, &sConfig) != HAL_OK)
  {
    Error_Handler();
  }

  /** Configure Regular Channel
  */
  sConfig.Channel = ADC_CHANNEL_7;
  sConfig.Rank = ADC_REGULAR_RANK_2;
  sConfig.SamplingTime = ADC_SAMPLINGTIME_COMMON_2;
  if (HAL_ADC_ConfigChannel(&hadc4, &sConfig) != HAL_OK)
  {
    Error_Handler();
  }

  /** Configure Regular Channel
  */
  sConfig.Channel = ADC_CHANNEL_TEMPSENSOR;
  sConfig.Rank = ADC_REGULAR_RANK_3;
  if (HAL_ADC_ConfigChannel(&hadc4, &sConfig) != HAL_OK)
  {
    Error_Handler();
  }

}

static void MX_CRC_Init(void)
{

  hcrc.Instance = CRC;
  hcrc.Init.DefaultPolynomialUse = DEFAULT_POLYNOMIAL_DISABLE;
  hcrc.Init.DefaultInitValueUse = DEFAULT_INIT_VALUE_ENABLE;
  hcrc.Init.GeneratingPolynomial = 7607;
  hcrc.Init.CRCLength = CRC_POLYLENGTH_16B;
  hcrc.Init.InputDataInversionMode = CRC_INPUTDATA_INVERSION_NONE;
  hcrc.Init.OutputDataInversionMode = CRC_OUTPUTDATA_INVERSION_DISABLE;
  hcrc.InputDataFormat = CRC_INPUTDATA_FORMAT_WORDS;
  if (HAL_CRC_Init(&hcrc) != HAL_OK)
  {
    Error_Handler();
  }

}

static void MX_GPDMA1_Init(void)
{

  /* Peripheral clock enable */
  __HAL_RCC_GPDMA1_CLK_ENABLE();

  /* GPDMA1 interrupt Init */
    HAL_NVIC_SetPriority(GPDMA1_Channel0_IRQn, 0, 0);
    HAL_NVIC_EnableIRQ(GPDMA1_Channel0_IRQn);

}

static void MX_ICACHE_Init(void)
{

  /** Enable instruction cache in 1-way (direct mapped cache)
  */
  if (HAL_ICACHE_ConfigAssociativityMode(ICACHE_1WAY) != HAL_OK)
  {
    Error_Handler();
  }
  if (HAL_ICACHE_Enable() != HAL_OK)
  {
    Error_Handler();
  }

}

static void MX_LPTIM1_Init(void)
{

  LPTIM_OC_ConfigTypeDef sConfig1 = {0};

  hlptim1.Instance = LPTIM1;
  hlptim1.Init.Clock.Source = LPTIM_CLOCKSOURCE_APBCLOCK_LPOSC;
  hlptim1.Init.Clock.Prescaler = LPTIM_PRESCALER_DIV128;
  hlptim1.Init.Trigger.Source = LPTIM_TRIGSOURCE_SOFTWARE;
  hlptim1.Init.Period = 10000;
  hlptim1.Init.UpdateMode = LPTIM_UPDATE_IMMEDIATE;
  hlptim1.Init.CounterSource = LPTIM_COUNTERSOURCE_INTERNAL;
  hlptim1.Init.Input1Source = LPTIM_INPUT1SOURCE_GPIO;
  hlptim1.Init.Input2Source = LPTIM_INPUT2SOURCE_GPIO;
  hlptim1.Init.RepetitionCounter = 0;
  if (HAL_LPTIM_Init(&hlptim1) != HAL_OK)
  {
    Error_Handler();
  }
  sConfig1.Pulse = 4000;
  sConfig1.OCPolarity = LPTIM_OCPOLARITY_HIGH;
  if (HAL_LPTIM_OC_ConfigChannel(&hlptim1, &sConfig1, LPTIM_CHANNEL_1) != HAL_OK)
  {
    Error_Handler();
  }

}

static void MX_LPTIM2_Init(void)
{

  LPTIM_OC_ConfigTypeDef sConfig1 = {0};

  hlptim2.Instance = LPTIM2;
  hlptim2.Init.Clock.Source = LPTIM_CLOCKSOURCE_APBCLOCK_LPOSC;
  hlptim2.Init.Clock.Prescaler = LPTIM_PRESCALER_DIV1;
  hlptim2.Init.Trigger.Source = LPTIM_TRIGSOURCE_SOFTWARE;
  hlptim2.Init.Period = 2540;
  hlptim2.Init.UpdateMode = LPTIM_UPDATE_IMMEDIATE;
  hlptim2.Init.CounterSource = LPTIM_COUNTERSOURCE_INTERNAL;
  hlptim2.Init.Input1Source = LPTIM_INPUT1SOURCE_GPIO;
  hlptim2.Init.Input2Source = LPTIM_INPUT2SOURCE_GPIO;
  hlptim2.Init.RepetitionCounter = 0;
  if (HAL_LPTIM_Init(&hlptim2) != HAL_OK)
  {
    Error_Handler();
  }
  sConfig1.Pulse = 1270;
  sConfig1.OCPolarity = LPTIM_OCPOLARITY_HIGH;
  if (HAL_LPTIM_OC_ConfigChannel(&hlptim2, &sConfig1, LPTIM_CHANNEL_2) != HAL_OK)
  {
    Error_Handler();
  }
  HAL_LPTIM_MspPostInit(&hlptim2);

}

static void MX_RAMCFG_Init(void)
{

  /** Initialize RAMCFG SRAM1
  */
  hramcfg_SRAM1.Instance = RAMCFG_SRAM1;
  if (HAL_RAMCFG_Init(&hramcfg_SRAM1) != HAL_OK)
  {
    Error_Handler();
  }

}

static void MX_RNG_Init(void)
{

  hrng.Instance = RNG;
  hrng.Init.ClockErrorDetection = RNG_CED_ENABLE;
  if (HAL_RNG_Init(&hrng) != HAL_OK)
  {
    Error_Handler();
  }

}

void MX_RTC_Init(void)
{

  RTC_PrivilegeStateTypeDef privilegeState = {0};

  /** Initialize RTC Only
  */
  hrtc.Instance = RTC;
  hrtc.Init.AsynchPrediv = 127;
  hrtc.Init.OutPut = RTC_OUTPUT_DISABLE;
  hrtc.Init.OutPutRemap = RTC_OUTPUT_REMAP_NONE;
  hrtc.Init.OutPutPolarity = RTC_OUTPUT_POLARITY_HIGH;
  hrtc.Init.OutPutType = RTC_OUTPUT_TYPE_OPENDRAIN;
  hrtc.Init.OutPutPullUp = RTC_OUTPUT_PULLUP_NONE;
  hrtc.Init.BinMode = RTC_BINARY_ONLY;
  if (HAL_RTC_Init(&hrtc) != HAL_OK)
  {
    Error_Handler();
  }
  privilegeState.rtcPrivilegeFull = RTC_PRIVILEGE_FULL_NO;
  privilegeState.backupRegisterPrivZone = RTC_PRIVILEGE_BKUP_ZONE_NONE;
  privilegeState.backupRegisterStartZone2 = RTC_BKP_DR0;
  privilegeState.backupRegisterStartZone3 = RTC_BKP_DR0;
  if (HAL_RTCEx_PrivilegeModeSet(&hrtc, &privilegeState) != HAL_OK)
  {
    Error_Handler();
  }

  /** Enable the WakeUp
  */
  if (HAL_RTCEx_SetWakeUpTimer_IT(&hrtc, 0, RTC_WAKEUPCLOCK_CK_SPRE_16BITS, 0) != HAL_OK)
  {
    Error_Handler();
  }

}

static void MX_TIM17_Init(void)
{

  TIM_OC_InitTypeDef sConfigOC = {0};
  TIM_BreakDeadTimeConfigTypeDef sBreakDeadTimeConfig = {0};

  htim17.Instance = TIM17;
  htim17.Init.Prescaler = 15;
  htim17.Init.CounterMode = TIM_COUNTERMODE_UP;
  htim17.Init.Period = 1000;
  htim17.Init.ClockDivision = TIM_CLOCKDIVISION_DIV1;
  htim17.Init.RepetitionCounter = 0;
  htim17.Init.AutoReloadPreload = TIM_AUTORELOAD_PRELOAD_ENABLE;
  if (HAL_TIM_Base_Init(&htim17) != HAL_OK)
  {
    Error_Handler();
  }
  if (HAL_TIM_OC_Init(&htim17) != HAL_OK)
  {
    Error_Handler();
  }
  if (HAL_TIM_OnePulse_Init(&htim17, TIM_OPMODE_SINGLE) != HAL_OK)
  {
    Error_Handler();
  }
  sConfigOC.OCMode = TIM_OCMODE_TOGGLE;
  sConfigOC.Pulse = 0;
  sConfigOC.OCPolarity = TIM_OCPOLARITY_HIGH;
  sConfigOC.OCNPolarity = TIM_OCNPOLARITY_HIGH;
  sConfigOC.OCFastMode = TIM_OCFAST_DISABLE;
  sConfigOC.OCIdleState = TIM_OCIDLESTATE_RESET;
  sConfigOC.OCNIdleState = TIM_OCNIDLESTATE_RESET;
  if (HAL_TIM_OC_ConfigChannel(&htim17, &sConfigOC, TIM_CHANNEL_1) != HAL_OK)
  {
    Error_Handler();
  }
  sBreakDeadTimeConfig.OffStateRunMode = TIM_OSSR_DISABLE;
  sBreakDeadTimeConfig.OffStateIDLEMode = TIM_OSSI_DISABLE;
  sBreakDeadTimeConfig.LockLevel = TIM_LOCKLEVEL_OFF;
  sBreakDeadTimeConfig.DeadTime = 0;
  sBreakDeadTimeConfig.BreakState = TIM_BREAK_DISABLE;
  sBreakDeadTimeConfig.BreakPolarity = TIM_BREAKPOLARITY_HIGH;
  sBreakDeadTimeConfig.BreakFilter = 0;
  sBreakDeadTimeConfig.AutomaticOutput = TIM_AUTOMATICOUTPUT_DISABLE;
  if (HAL_TIMEx_ConfigBreakDeadTime(&htim17, &sBreakDeadTimeConfig) != HAL_OK)
  {
    Error_Handler();
  }
  /* USER CODE BEGIN TIM17_Init 2 */
  __HAL_TIM_CLEAR_FLAG(&htim17, TIM_SR_UIF); // Clear flags
  /* USER CODE END TIM17_Init 2 */

}

static void MX_USART2_UART_Init(void)
{

  huart2.Instance = USART2;
  huart2.Init.BaudRate = 115200;
  huart2.Init.WordLength = UART_WORDLENGTH_8B;
  huart2.Init.StopBits = UART_STOPBITS_1;
  huart2.Init.Parity = UART_PARITY_NONE;
  huart2.Init.Mode = UART_MODE_TX;
  huart2.Init.HwFlowCtl = UART_HWCONTROL_NONE;
  huart2.Init.OverSampling = UART_OVERSAMPLING_8;
  huart2.Init.OneBitSampling = UART_ONE_BIT_SAMPLE_DISABLE;
  huart2.Init.ClockPrescaler = UART_PRESCALER_DIV1;
  huart2.AdvancedInit.AdvFeatureInit = UART_ADVFEATURE_RXOVERRUNDISABLE_INIT|UART_ADVFEATURE_DMADISABLEONERROR_INIT;
  huart2.AdvancedInit.OverrunDisable = UART_ADVFEATURE_OVERRUN_DISABLE;
  huart2.AdvancedInit.DMADisableonRxError = UART_ADVFEATURE_DMA_DISABLEONRXERROR;
  if (HAL_HalfDuplex_Init(&huart2) != HAL_OK)
  {
    Error_Handler();
  }
  if (HAL_UARTEx_SetTxFifoThreshold(&huart2, UART_TXFIFO_THRESHOLD_1_8) != HAL_OK)
  {
    Error_Handler();
  }
  if (HAL_UARTEx_SetRxFifoThreshold(&huart2, UART_RXFIFO_THRESHOLD_1_8) != HAL_OK)
  {
    Error_Handler();
  }
  if (HAL_UARTEx_EnableFifoMode(&huart2) != HAL_OK)
  {
    Error_Handler();
  }

}

static void MX_GPIO_Init(void)
{
  GPIO_InitTypeDef GPIO_InitStruct = {0};

  /* GPIO Ports Clock Enable */
  __HAL_RCC_GPIOB_CLK_ENABLE();
  __HAL_RCC_GPIOA_CLK_ENABLE();
  __HAL_RCC_GPIOC_CLK_ENABLE();

  /*Configure GPIO pin Output Level */
  HAL_GPIO_WritePin(GPIOB, A_DATA_Pin|NC_Pin|NCB8_Pin, GPIO_PIN_RESET);

  /*Configure GPIO pin Output Level */
  HAL_GPIO_WritePin(GPIOA, A_SCK_Pin|A_CS_Pin|VIBRO_Pin|LED_Pin, GPIO_PIN_RESET);

  /*Configure GPIO pin : A_DATA_Pin */
  GPIO_InitStruct.Pin = A_DATA_Pin;
  GPIO_InitStruct.Mode = GPIO_MODE_OUTPUT_PP;
  GPIO_InitStruct.Pull = GPIO_NOPULL;
  GPIO_InitStruct.Speed = GPIO_SPEED_FREQ_LOW;
  HAL_GPIO_Init(A_DATA_GPIO_Port, &GPIO_InitStruct);

  /*Configure GPIO pins : A_SCK_Pin A_CS_Pin VIBRO_Pin LED_Pin */
  GPIO_InitStruct.Pin = A_SCK_Pin|A_CS_Pin|VIBRO_Pin|LED_Pin;
  GPIO_InitStruct.Mode = GPIO_MODE_OUTPUT_PP;
  GPIO_InitStruct.Pull = GPIO_NOPULL;
  GPIO_InitStruct.Speed = GPIO_SPEED_FREQ_LOW;
  HAL_GPIO_Init(GPIOA, &GPIO_InitStruct);

  /*Configure GPIO pins : NC_Pin NCB8_Pin */
  GPIO_InitStruct.Pin = NC_Pin|NCB8_Pin;
  GPIO_InitStruct.Mode = GPIO_MODE_OUTPUT_OD;
  GPIO_InitStruct.Pull = GPIO_NOPULL;
  GPIO_InitStruct.Speed = GPIO_SPEED_FREQ_LOW;
  HAL_GPIO_Init(GPIOB, &GPIO_InitStruct);

  /*Configure GPIO pin : Sync_Pin */
  GPIO_InitStruct.Pin = Sync_Pin;
  GPIO_InitStruct.Mode = GPIO_MODE_IT_RISING;
  GPIO_InitStruct.Pull = GPIO_NOPULL;
  HAL_GPIO_Init(Sync_GPIO_Port, &GPIO_InitStruct);

  /*RT DEBUG GPIO_Init */
  RT_DEBUG_GPIO_Init();

  /* EXTI interrupt init*/
  HAL_NVIC_SetPriority(EXTI15_IRQn, 0, 0);
  HAL_NVIC_EnableIRQ(EXTI15_IRQn);

}

/* USER CODE BEGIN 4 */

void HAL_LPTIM_CompareMatchCallback(LPTIM_HandleTypeDef *hlptim) {
	if (hlptim->Channel == HAL_LPTIM_ACTIVE_CHANNEL_1) {
		/* Включение звука */
		if (SoundEnable) {
			if (notifyFlags & SOUND_NOTIFY) {
				SoundFlag = true;
				HAL_LPTIM_PWM_Start(&hlptim2, LPTIM_CHANNEL_2);
			}
		}

		/* Включение вибро */
		if (VibroEnable) {
			if (notifyFlags & VIBRO_NOTIFY) {
				VibroFlag = true;
				HAL_GPIO_WritePin(VIBRO_GPIO_Port, VIBRO_Pin, GPIO_PIN_SET);
			}
		}
	}
}

void HAL_LPTIM_AutoReloadMatchCallback(LPTIM_HandleTypeDef *hlptim) {

	/* Отключание звука */
	if (SoundFlag) {
	  SoundFlag = false;
	  HAL_LPTIM_PWM_Stop(&hlptim2, LPTIM_CHANNEL_2);
	}

	/* Отключение вибро */
	if (VibroFlag) {
	  VibroFlag = false;
	  HAL_GPIO_WritePin(VIBRO_GPIO_Port, VIBRO_Pin, GPIO_PIN_RESET);
	}
}

/*
 *  Последнее событие в работе таймера
 */
void HAL_LPTIM_UpdateEventCallback(LPTIM_HandleTypeDef *hlptim) {

		/* На всякий случай дополнительно выключим звук и вибро */
		HAL_LPTIM_OnePulse_Stop_IT(&hlptim1, LPTIM_CHANNEL_1);
		HAL_LPTIM_PWM_Stop(&hlptim2, LPTIM_CHANNEL_2);
		HAL_GPIO_WritePin(VIBRO_GPIO_Port, VIBRO_Pin, GPIO_PIN_RESET);
}
/* USER CODE END 4 */

void Error_Handler(void)
{
  __disable_irq();
  while (1)
  {
  }
}
